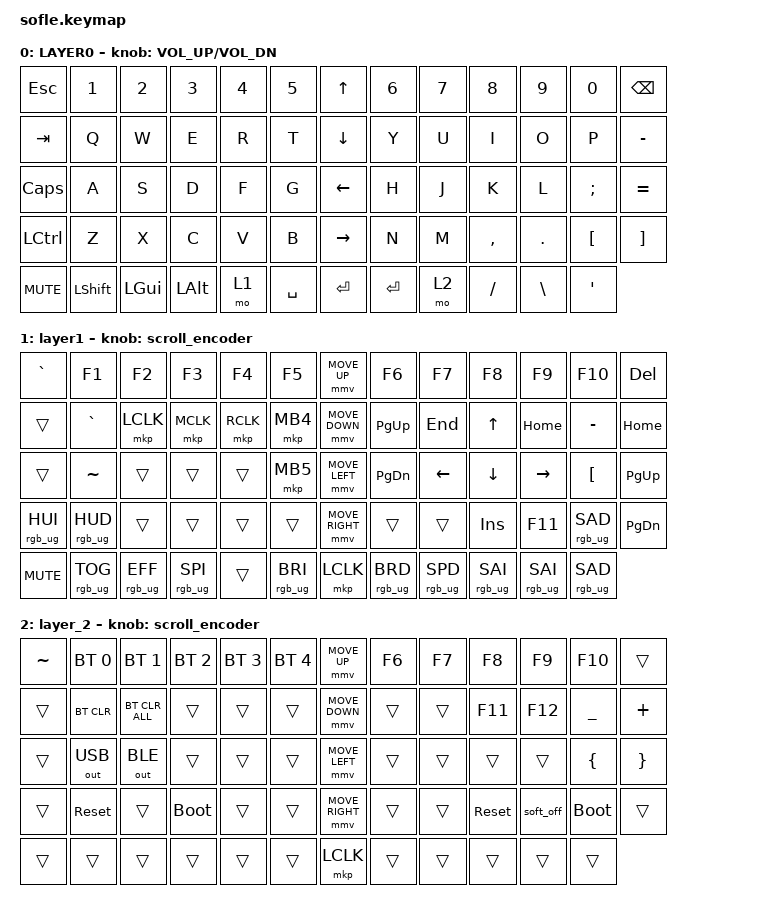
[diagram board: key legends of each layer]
#include <behaviors/mouse_keys.dtsi>
#include <behaviors.dtsi>
#include <dt-bindings/zmk/bt.h>
#include <dt-bindings/zmk/keys.h>
#include <dt-bindings/zmk/mouse.h>
#include <dt-bindings/zmk/outputs.h>
#include <dt-bindings/zmk/rgb.h>

#define ZMK_MOUSE_DEFAULT_MOVE_VAL 1200  // 600
#define ZMK_MOUSE_DEFAULT_SCRL_VAL 20    // 10
#define U_MS_U &mmv MOVE_UP
#define U_MS_D &mmv MOVE_DOWN
#define U_MS_L &mmv MOVE_LEFT
#define U_MS_R &mmv MOVE_RIGHT
#define ZMK_MOUSE_DEFAULT_MOVE_VAL 1200  //  600
#define ZMK_MOUSE_DEFAULT_SCRL_VAL 20    // 10

/ {
    behaviors {
        mmv {
            acceleration-exponent = <1>;      // 1
            time-to-max-speed-ms = <900>;    // 40
            delay-ms = <0>;                   // 0
        };

        msc {
            acceleration-exponent = <1>;      // 0
            time-to-max-speed-ms = <400>;      // 500
            delay-ms = <0>;                   //   10
        };
    };

    scroll_encoder: scroll_encoder {
        compatible = "zmk,behavior-sensor-rotate";
        #sensor-binding-cells = <0>;
        bindings = <&msc SCRL_DOWN>, <&msc SCRL_UP>;

        tap-ms = <30>;
    };

    keymap {
        compatible = "zmk,keymap";

        layer0 {
            bindings = <
&kp ESC     &kp N1          &kp N2        &kp N3        &kp N4  &kp N5       &kp UP_ARROW     &kp N6     &kp N7  &kp N8     &kp N9         &kp N0            &kp BACKSPACE
&kp TAB     &kp Q           &kp W         &kp E         &kp R   &kp T        &kp DOWN_ARROW   &kp Y      &kp U   &kp I      &kp O          &kp P             &kp MINUS
&kp CAPS    &kp A           &kp S         &kp D         &kp F   &kp G        &kp LEFT_ARROW   &kp H      &kp J   &kp K      &kp L          &kp SEMI          &kp EQUAL
&kp LCTRL   &kp Z           &kp X         &kp C         &kp V   &kp B        &kp RIGHT_ARROW  &kp N      &kp M   &kp COMMA  &kp DOT        &kp LEFT_BRACKET  &kp RIGHT_BRACKET
&kp C_MUTE  &kp LEFT_SHIFT  &kp LEFT_GUI  &kp LEFT_ALT  &mo 1   &kp SPACE    &kp ENTER        &kp ENTER  &mo 2   &kp SLASH  &kp BACKSLASH  &kp SQT
            >;

            sensor-bindings = <&inc_dec_kp C_VOLUME_UP C_VOL_DN>;
            display-name = "LAYER0";
        };

        layer_1 {
            bindings = <
&kp GRAVE        &kp F1           &kp F2           &kp F3           &kp F4     &kp F5             &mmv MOVE_UP     &kp F6           &kp F7           &kp F8           &kp F9           &kp F10           &kp DELETE
&trans           &kp GRAVE        &mkp LCLK        &mkp MCLK        &mkp RCLK  &mkp MB4           &mmv MOVE_DOWN   &kp PG_UP        &kp END          &kp UP           &kp HOME         &kp MINUS         &kp HOME
&trans           &kp TILDE        &trans           &trans           &trans     &mkp MB5           &mmv MOVE_LEFT   &kp PG_DN        &kp LEFT         &kp DOWN         &kp RIGHT        &kp LEFT_BRACKET  &kp PG_UP
&rgb_ug RGB_HUI  &rgb_ug RGB_HUD  &trans           &trans           &trans     &trans             &mmv MOVE_RIGHT  &trans           &trans           &kp INSERT       &kp F11          &rgb_ug RGB_SAD   &kp PG_DN
&kp C_MUTE       &rgb_ug RGB_TOG  &rgb_ug RGB_EFF  &rgb_ug RGB_SPI  &trans     &rgb_ug RGB_BRI    &mkp LCLK        &rgb_ug RGB_BRD  &rgb_ug RGB_SPD  &rgb_ug RGB_SAI  &rgb_ug RGB_SAI  &rgb_ug RGB_SAD
            >;

            display-name = "layer1";
            sensor-bindings = <&scroll_encoder>;
        };

        layer_2 {
            bindings = <
&kp TILDE  &bt BT_SEL 0  &bt BT_SEL 1    &bt BT_SEL 2  &bt BT_SEL 3  &bt BT_SEL 4    &mmv MOVE_UP     &kp F6  &kp F7  &kp F8      &kp F9     &kp F10      &trans
&trans     &bt BT_CLR    &bt BT_CLR_ALL  &trans        &trans        &trans          &mmv MOVE_DOWN   &trans  &trans  &kp F11     &kp F12    &kp UNDER    &kp PLUS
&trans     &out OUT_USB  &out OUT_BLE    &trans        &trans        &trans          &mmv MOVE_LEFT   &trans  &trans  &trans      &trans     &kp LBRC     &kp RBRC
&trans     &sys_reset    &trans          &bootloader   &trans        &trans          &mmv MOVE_RIGHT  &trans  &trans  &sys_reset  &soft_off  &bootloader  &trans
&trans     &trans        &trans          &trans        &trans        &trans          &mkp LCLK        &trans  &trans  &trans      &trans     &trans
            >;

            sensor-bindings = <&scroll_encoder>;
        };
    };
};
